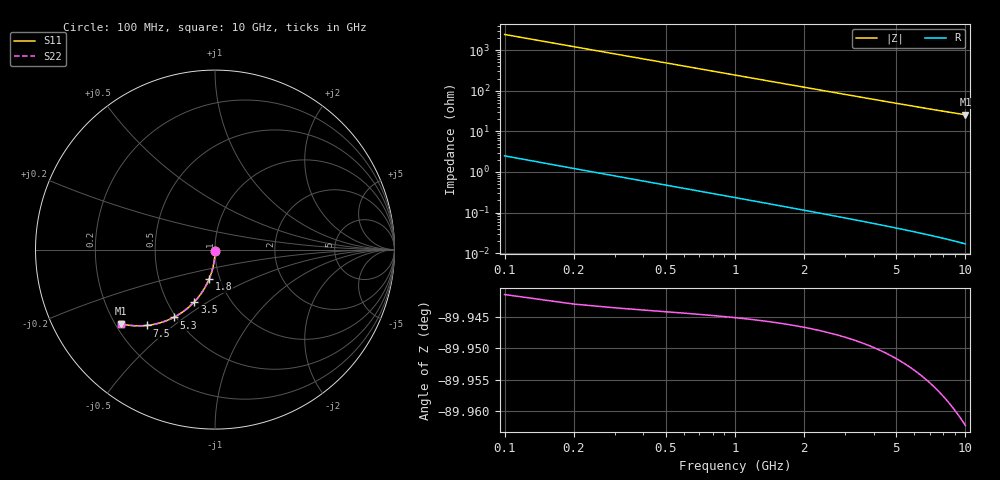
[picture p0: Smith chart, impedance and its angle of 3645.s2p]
# Hz S RI R 50.00
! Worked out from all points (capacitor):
!   100 points, 100 MHz to 10 GHz, reference 50 ohm
!   read as one part in shunt: C = 654 fF near 100 MHz
!   lowest |Z| = 25.6 ohm at 10 GHz (marker M1)
!   S11 on the Smith chart (normalised r, x): 100 MHz: 1.00, -0.02; 1.8 GHz: 0.89, -0.30; 3.5 GHz: 0.68, -0.44; 5.3 GHz: 0.48, -0.46; 7.5 GHz: 0.33, -0.41; 10 GHz: 0.22, -0.33
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1e8  0.000198 -0.00944  0.9996 -0.0111  0.9996 -0.0111  0.000198 -0.00944
2e8  -0.000124 -0.0189  0.9992 -0.0222  0.9992 -0.0222  -0.000124 -0.0189
3e8  -0.000655 -0.0283  0.9987 -0.0333  0.9987 -0.0333  -0.000655 -0.0283
4e8  -0.0014 -0.0377  0.9979 -0.0443  0.9979 -0.0443  -0.0014 -0.0377
5e8  -0.00234 -0.0471  0.997 -0.0554  0.997 -0.0554  -0.00234 -0.0471
6e8  -0.0035 -0.0564  0.9958 -0.0664  0.9958 -0.0664  -0.0035 -0.0564
8e8  -0.00642 -0.075  0.9928 -0.0882  0.9928 -0.0882  -0.00642 -0.075
1.1e9  -0.0123 -0.1025  0.9869 -0.1207  0.9869 -0.1207  -0.0123 -0.1025
1.4e9  -0.02 -0.1294  0.9791 -0.1526  0.9791 -0.1526  -0.02 -0.1294
1.8e9  -0.0328 -0.164  0.9661 -0.1939  0.9661 -0.1939  -0.0328 -0.164
2.1e9  -0.0442 -0.189  0.9545 -0.2238  0.9545 -0.2238  -0.0442 -0.189
2.5e9  -0.0617 -0.2207  0.9368 -0.2622  0.9368 -0.2622  -0.0617 -0.2207
2.9e9  -0.0814 -0.2503  0.9168 -0.2984  0.9168 -0.2984  -0.0814 -0.2503
3.4e9  -0.1088 -0.2841  0.8889 -0.3406  0.8889 -0.3406  -0.1088 -0.2841
3.5e9  -0.1147 -0.2904  0.883 -0.3486  0.883 -0.3486  -0.1147 -0.2904
4.3e9  -0.1641 -0.3355  0.8326 -0.4072  0.8326 -0.4072  -0.1641 -0.3355
5.1e9  -0.2172 -0.3707  0.7784 -0.4559  0.7784 -0.4559  -0.2172 -0.3707
5.3e9  -0.2308 -0.378  0.7646 -0.4666  0.7646 -0.4666  -0.2308 -0.378
6.7e9  -0.3261 -0.4132  0.6668 -0.5259  0.6668 -0.5259  -0.3261 -0.4132
7.5e9  -0.3788 -0.4223  0.6124 -0.5489  0.6124 -0.5489  -0.3788 -0.4223
8.4e9  -0.435 -0.4247  0.554 -0.5671  0.554 -0.5671  -0.435 -0.4247
1e10  -0.5248 -0.4128  0.4597 -0.5839  0.4597 -0.5839  -0.5248 -0.4128
